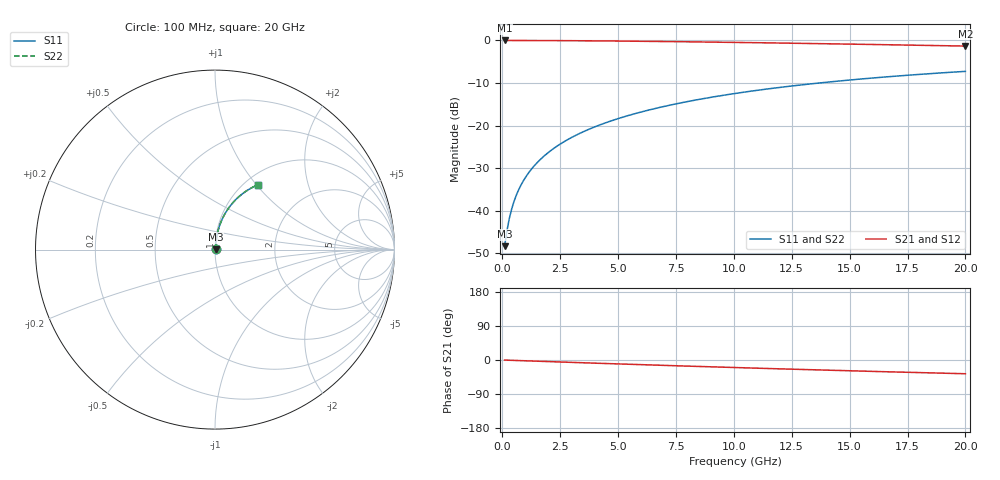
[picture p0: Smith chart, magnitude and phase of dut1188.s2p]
! Touchstone file exported from HFSS 2024.1.0
!  File:  C:/UserFiles/LocalFiles/RDL_TSV_Batchsim/temp_RDL_bottom_1188_1780057531.aedt
!  Generated:  08:27:46 PM May 29, 2026
!  Design:  RDL_bottom
!  Project:  temp_RDL_bottom_1188_1780057531
!  Setup:  Setup1
!  Solution:  Sweep
! Variables:
!  dtsv = 10.80580581um
!  hbump = 3um
!  htsv = 69.47um
!  ldown = 428.52um
!  lrdl = 100um
!  p = 40
!  p1 = 57.74um
!  rhole = 1um
!  t = 450um
!  tdown = 4.12um
!  trdl = 3.915915916um
!  wdown = 13.01um
!  wrdl = 20um
# GHz S MA R 50.000000
! Terminal data exported
! Port[1] = RDL1_T1
! Port[2] = RDL1_T2
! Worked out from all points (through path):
!   200 points, 100 MHz to 20 GHz, reference 50 ohm
!   highest |S21| = -0.03 dB at 100 MHz (marker M1); lowest = -1.3 dB at 20 GHz (marker M2)
!   group delay of S21, straight-line fit = 5.03 ps
!   lowest |S11| = -48.3 dB at 100 MHz (marker M3), VSWR 1.01, Z = 50.3 + j0.252 ohm
!   |S11| at or under -10 dB: start of sweep to 13.69 GHz
!   |S22| runs from -48.3 to -7.3 dB; largest |S21 - S12| = 4.4e-15
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0.1  0.003849 40.5  0.9971 -0.2  0.9971 -0.2  0.003849 40.5
! Gamma 0 0 0 0
! Port Impedance 50 0 50 0
0.2  0.005813 59.1  0.997 -0.4  0.997 -0.4  0.005813 59.1
0.3  0.00806 67.5  0.9969 -0.6  0.9969 -0.6  0.00806 67.5
0.4  0.01039 72.1  0.9968 -0.9  0.9968 -0.9  0.01039 72.1
0.5  0.01275 75.0  0.9967 -1.1  0.9967 -1.1  0.01275 75.0
0.6  0.01512 76.9  0.9966 -1.3  0.9966 -1.3  0.01512 76.9
0.8  0.01987 79.3  0.9963 -1.7  0.9963 -1.7  0.01987 79.3
1.1  0.02704 81.2  0.9959 -2.3  0.9959 -2.3  0.02704 81.2
1.5  0.03663 82.3  0.9952 -3.2  0.9952 -3.2  0.03663 82.3
1.8  0.04384 82.6  0.9945 -3.8  0.9945 -3.8  0.04384 82.6
2.1  0.05106 82.8  0.9937 -4.4  0.9937 -4.4  0.05106 82.8
2.7  0.0655 82.6  0.9919 -5.7  0.9919 -5.7  0.0655 82.6
3.5  0.08475 81.9  0.9888 -7.3  0.9888 -7.3  0.08475 81.9
4.2  0.1016 81.1  0.9856 -8.7  0.9856 -8.7  0.1016 81.1
5  0.1207 80.1  0.9815 -10.4  0.9815 -10.4  0.1207 80.1
5.9  0.1421 78.8  0.9762 -12.1  0.9762 -12.1  0.1421 78.8
6.8  0.1634 77.4  0.9704 -13.9  0.9704 -13.9  0.1634 77.5
8.3  0.1984 75.1  0.9598 -16.7  0.9598 -16.7  0.1984 75.1
10.1  0.2392 72.2  0.9459 -20.0  0.9459 -20.0  0.2393 72.2
13.4  0.3102 66.8  0.9179 -25.8  0.9179 -25.8  0.3103 66.8
16.7  0.3749 61.5  0.8877 -31.2  0.8877 -31.2  0.375 61.5
20  0.4326 56.5  0.8566 -36.3  0.8566 -36.3  0.4327 56.5
